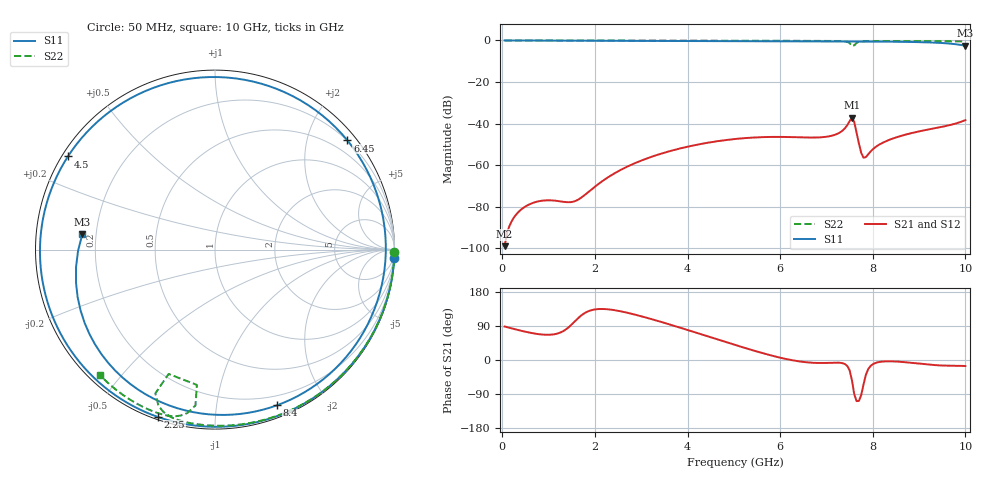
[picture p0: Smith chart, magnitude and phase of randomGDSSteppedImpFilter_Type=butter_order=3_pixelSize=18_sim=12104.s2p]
! freq	dB(S11)	phase(S11)	dB(S12)	phase(S12)
!  dB(S21)	phase(S21)	dB(S22)	phase(S22)
!S-par simulation data
#  GHz  S  DB  R 50
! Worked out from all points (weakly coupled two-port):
!   200 points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, 50 MHz to 10 GHz, reference 50 ohm
!   highest |S21| = -37.20 dB at 7.55 GHz (marker M1); lowest = -99.1 dB at 50 MHz (marker M2)
!   lowest |S11| = -2.6 dB at 10 GHz (marker M3), VSWR 6.81, Z = 7.36 + j2.88 ohm
!   |S11| at or under -10 dB: nowhere
!   |S22| runs from -2.6 to 0.0 dB; largest |S21 - S12| = 0
!   S11 on the Smith chart (normalised r, x): 50 MHz: 0, -45; 2.25 GHz: 0.01, -0.72; 4.5 GHz: 0.02, +0.29; 6.45 GHz: 0.20, +2.77; 8.4 GHz: 0.11, -1.47; 10 GHz: 0.15, +0.06
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0.05  -0.00 -2.6  -99.08 88.4  -99.08 88.4  -0.00 -0.8
1  -0.06 -50.0  -76.97 66.5  -76.97 66.5  -0.02 -15.2
1.5  -0.09 -74.1  -77.80 93.9  -77.80 93.9  -0.03 -22.8
1.75  -0.11 -85.8  -74.96 121.5  -74.96 121.5  -0.03 -26.5
2.25  -0.13 -108.7  -66.39 134.1  -66.39 134.1  -0.04 -33.9
3.4  -0.19 -160.4  -54.73 101.6  -54.73 101.6  -0.07 -50.5
3.95  -0.23 174.2  -51.43 81.2  -51.43 81.2  -0.08 -58.2
4.5  -0.26 147.6  -49.03 60.1  -49.03 60.1  -0.09 -65.8
5.05  -0.30 119.3  -47.41 38.9  -47.41 38.9  -0.11 -73.2
5.75  -0.35 80.4  -46.49 13.8  -46.49 13.8  -0.14 -82.4
6.45  -0.39 39.5  -46.67 -4.3  -46.67 -4.3  -0.17 -91.6
6.7  -0.40 24.8  -46.76 -7.3  -46.76 -7.3  -0.19 -95.0
7.25  -0.44 -6.7  -44.80 -7.1  -44.80 -7.1  -0.28 -103.6
7.55  -0.47 -23.3  -37.20 -53.4  -37.20 -53.4  -2.62 -110.5
7.6  -0.47 -26.0  -39.26 -90.3  -39.26 -90.3  -2.38 -97.6
7.75  -0.48 -34.1  -54.09 -92.6  -54.09 -92.6  -0.51 -101.6
7.8  -0.49 -36.7  -56.47 -64.8  -56.47 -64.8  -0.42 -103.1
8.35  -0.58 -65.6  -47.92 -3.4  -47.92 -3.4  -0.31 -112.4
8.4  -0.60 -68.2  -47.50 -3.5  -47.50 -3.5  -0.31 -113.1
9.3  -1.02 -119.0  -42.43 -13.1  -42.43 -13.1  -0.38 -124.2
9.65  -1.48 -145.9  -40.83 -15.1  -40.83 -15.1  -0.42 -128.3
10  -2.57 173.3  -38.37 -16.0  -38.37 -16.0  -0.46 -132.5
